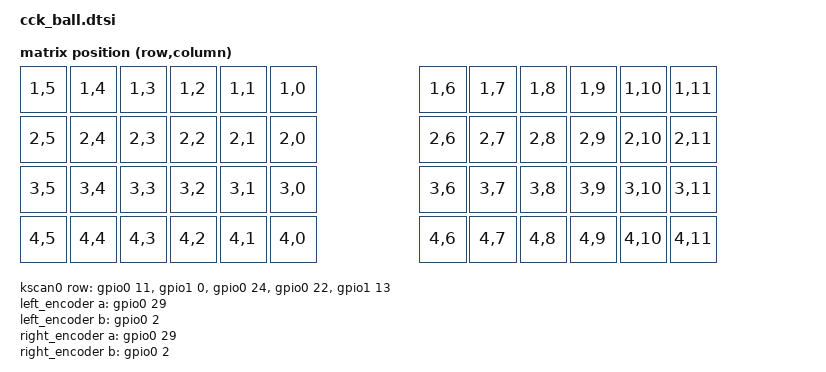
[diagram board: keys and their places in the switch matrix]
#include <dt-bindings/zmk/matrix_transform.h>
#include <dt-bindings/led/led.h>
#include "cck_ball-layouts.dtsi"

/ {
    chosen {
        zmk,kscan = &kscan0;
        zmk,physical-layouts = &physical_layout0;
    };

    matrix_transform0: keymap_transform_0 {
		compatible = "zmk,matrix-transform";
        columns = <12>;
        rows = <5>;

        map = <
			  RC(1,5) RC(1,4) RC(1,3) RC(1,2) RC(1,1) RC(1,0)                   RC(1,6) RC(1,7) RC(1,8) RC(1,9) RC(1,10) RC(1,11)
			  RC(2,5) RC(2,4) RC(2,3) RC(2,2) RC(2,1) RC(2,0)                   RC(2,6) RC(2,7) RC(2,8) RC(2,9) RC(2,10) RC(2,11)
			  RC(3,5) RC(3,4) RC(3,3) RC(3,2) RC(3,1) RC(3,0)                   RC(3,6) RC(3,7) RC(3,8) RC(3,9) RC(3,10) RC(3,11)
			  RC(4,5) RC(4,4) RC(4,3) RC(4,2) RC(4,1) RC(4,0)                   RC(4,6) RC(4,7) RC(4,8) RC(4,9) RC(4,10) RC(4,11) 
        >;
    };

    
	
    kscan0: kscan {
        compatible = "zmk,kscan-gpio-matrix";
        label = "KSCAN";

        diode-direction = "col2row";
		row-gpios
            = <&gpio0 11 (GPIO_ACTIVE_HIGH | GPIO_PULL_DOWN)>
            , <&gpio1  0 (GPIO_ACTIVE_HIGH | GPIO_PULL_DOWN)>
            , <&gpio0 24 (GPIO_ACTIVE_HIGH | GPIO_PULL_DOWN)>
	        , <&gpio0 22 (GPIO_ACTIVE_HIGH | GPIO_PULL_DOWN)>
	        , <&gpio1 13 (GPIO_ACTIVE_HIGH | GPIO_PULL_DOWN)>
            ;

    
	 /* encoders */
        /* 信号过滤都在驱动里给了默认值，此处无需配置（要覆盖再显式写对应属性）：
         *   filter-reverse-guard-us=800  反向信号判为毛刺的时间窗
         *   filter-reverse-as-codir=0    毛刺是否当正向补发（本轮先关）
         *   filter-codir-guard-us=3000   推断式补发(codir + 2 步跳变)的最小间隔，防一格连发
         *   filter-jump-compensate=1     2 步跳变按当前方向补偿丢失的一格 */

        left_encoder: encoder_left {
            compatible = "alps,ec11";
            status = "disabled";
            label = "LEFT_ENCODER";
            a-gpios = <&gpio0 29 (GPIO_ACTIVE_HIGH | GPIO_PULL_UP)>;
            b-gpios = <&gpio0 2 (GPIO_ACTIVE_HIGH | GPIO_PULL_UP)>;
            steps = <24>;   /* 数一下转动一周有多少格 */
            pulses-per-detent = <2>;  /* 每转动一格编码器发几个信号 - 这个就来源于qmk，原版zmk只能是1，现在用的编码器是2，有些编码器是4 */
            /* filter-reverse-guard-us = <800>;  过滤转动过程中出现的反向信号毛刺时间窗口，默认值就是800，关闭需要显式设置为0 */
            /* filter-reverse-as-codir = <0>;  转动过程中出现的反向信号毛刺处理为正向信号，现在默认值是0 - 关闭 */
            /* filter-codir-guard-us = <3000>;  转动过程中抑制快速连续出现的正向信号的时间窗口，默认值是3000，关闭需要显式设置为0 */
            /* filter-jump-compensate = <1>;  连续出现的中间信号处理为转动信号 — 这个就是为了处理之前转动2格才动1次的问题，默认值是1，关闭需要显式设置为0 */
        };

        right_encoder: encoder_right {
            compatible = "alps,ec11";
            status = "disabled";
            label = "RIGHT_ENCODER";
            a-gpios = <&gpio0 29 (GPIO_ACTIVE_HIGH | GPIO_PULL_UP)>;
            b-gpios = <&gpio0 2 (GPIO_ACTIVE_HIGH | GPIO_PULL_UP)>;
            steps = <24>;
            pulses-per-detent = <2>;  /* 每转动一格编码器发几个信号 - 这个就来源于qmk，原版zmk只能是1，现在用的编码器是2，有些编码器是4 */
            /* filter-reverse-guard-us = <800>;  过滤转动过程中出现的反向信号毛刺时间窗口，默认值就是800，关闭需要显式设置为0 */
            /* filter-reverse-as-codir = <0>;  转动过程中出现的反向信号毛刺处理为正向信号，现在默认值是0 - 关闭 */
            /* filter-codir-guard-us = <3000>;  转动过程中抑制快速连续出现的正向信号的时间窗口，默认值是3000，关闭需要显式设置为0 */
            /* filter-jump-compensate = <1>;  连续出现的中间信号处理为转动信号 — 这个就是为了处理之前转动2格才动1次的问题，默认值是1，关闭需要显式设置为0 */
        };

        /* 转动一圈是24个点（detent） */

        sensors {
            compatible = "zmk,keymap-sensors";
            sensors = <&left_encoder &right_encoder>;
            triggers-per-rotation = <24>;   /* 这个跟上面2个steps保持一致 */
        };

    };

};    
